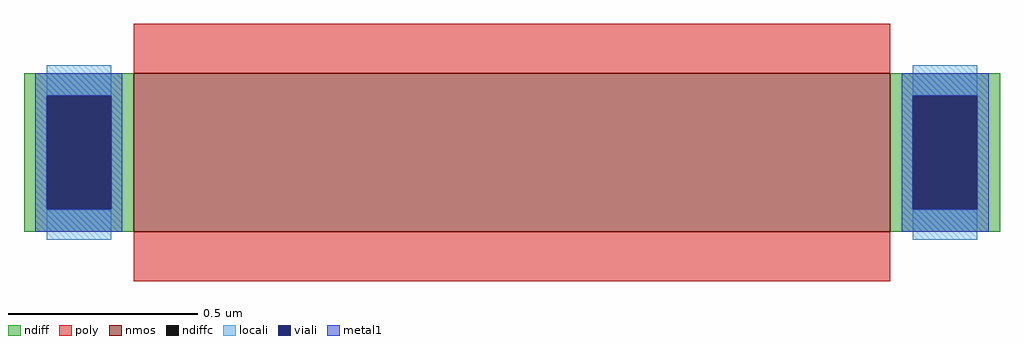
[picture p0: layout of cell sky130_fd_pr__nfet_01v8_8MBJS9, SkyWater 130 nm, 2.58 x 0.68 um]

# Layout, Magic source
magic
tech sky130A
<< nmos >>
rect -100 -21 100 21
<< ndiff >>
rect -129 15 -100 21
rect -129 -15 -123 15
rect -106 -15 -100 15
rect -129 -21 -100 -15
rect 100 15 129 21
rect 100 -15 106 15
rect 123 -15 129 15
rect 100 -21 129 -15
<< ndiffc >>
rect -123 -15 -106 15
rect 106 -15 123 15
<< poly >>
rect -100 21 100 34
rect -100 -34 100 -21
<< locali >>
rect -123 15 -106 23
rect -123 -23 -106 -15
rect 106 15 123 23
rect 106 -23 123 -15
<< viali >>
rect -123 -15 -106 15
rect 106 -15 123 15
<< metal1 >>
rect -126 15 -103 21
rect -126 -15 -123 15
rect -106 -15 -103 15
rect -126 -21 -103 -15
rect 103 15 126 21
rect 103 -15 106 15
rect 123 -15 126 15
rect 103 -21 126 -15
<< properties >>
string gencell sky130_fd_pr__nfet_01v8
string library sky130
string parameters w 0.420 l 2 m 1 nf 1 diffcov 100 polycov 100 guard 0 glc 0 grc 0 gtc 0 gbc 0 tbcov 100 rlcov 100 topc 0 botc 0 poverlap 0 doverlap 0 lmin 0.15 wmin 0.42 compatible {sky130_fd_pr__nfet_01v8 sky130_fd_pr__nfet_01v8_lvt  sky130_fd_bs_flash__special_sonosfet_star  sky130_fd_pr__nfet_g5v0d10v5 sky130_fd_pr__nfet_05v0_nvt  sky130_fd_pr__nfet_03v3_nvt} full_metal 0 viasrc 100 viadrn 100 viagate 100 viagb 0 viagr 0 viagl 0 viagt 0
<< end >>
